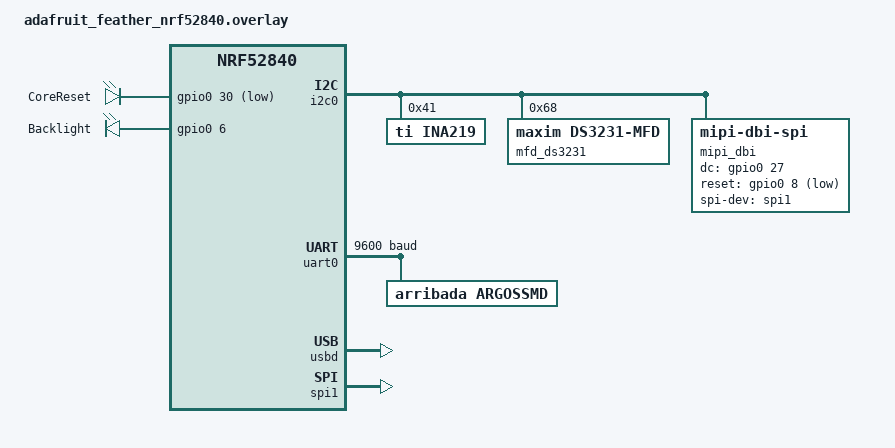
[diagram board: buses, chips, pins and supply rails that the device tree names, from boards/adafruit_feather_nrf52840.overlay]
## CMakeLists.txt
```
cmake_minimum_required(VERSION 3.28)

list(APPEND CMAKE_MODULE_PATH $ENV{APP_ROOT}/cmake)

include(util)

ProjectTestSetup("")

find_package(Zephyr REQUIRED HINTS $ENV{ZEPHYR_BASE})

project(LPM LANGUAGES C CXX ASM)

SetupTarget(app FALSE)
target_sources(app PRIVATE src/main.cpp src/events.cpp)
```

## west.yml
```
manifest:
  group-filter: [+optional]
  remotes:
    - name: zephyrproject-rtos
      url-base: https://github.com/zephyrproject-rtos
    - name: Neargye 
      url-base: https://github.com/Neargye
    - name: embedded-template-library 
      url-base: https://github.com/ETLCPP
    - name: arribada
      url-base: git@github.com:arribada
  projects:
    - name: zephyr
      remote: zephyrproject-rtos
      revision: v4.2.0
      import:
        name-allowlist:
          - cmsis_6    # required by the ARM port
          - hal_nordic # required for Nordic
          - segger
          - lvgl
          - nanopb
    - name: magic_enum
      remote: Neargye
      revision: v0.9.5
    - name: etl
      remote: embedded-template-library 
      revision: 20.38.10
    - name: argos-smd-driver-zephyr
      remote: arribada
      revision: 55e13b3ec129c5427a04aa7b45322adccca33490
      groups:
        - private
  self:
    path: marlin-lpm
```

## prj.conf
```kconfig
CONFIG_CORE_COMMS_MODULE=y
CONFIG_CORE_COMMS_MODULE_LOG_LEVEL_DBG=y
CONFIG_SUPERVISOR_MODULE=y
CONFIG_MONITOR_MODULE=y
CONFIG_SATCOM_MODULE=y
CONFIG_DISPLAY_MODULE=y
CONFIG_RTC_MODULE=y

CONFIG_CPP=y
CONFIG_STD_CPP2B=y
CONFIG_REQUIRES_FULL_LIBCPP=y
CONFIG_NEWLIB_LIBC=y
CONFIG_GLIBCXX_LIBCPP=y
CONFIG_CPP_RTTI=n 
CONFIG_REQUIRES_FLOAT_PRINTF=y

CONFIG_GPIO=y

CONFIG_DEBUG_OPTIMIZATIONS=y
CONFIG_DEBUG_THREAD_INFO=y
CONFIG_DEBUG=y
CONFIG_FRAME_POINTER=y                  
CONFIG_EXTRA_EXCEPTION_INFO=y
CONFIG_DEBUG_COREDUMP_MEMORY_DUMP_THREADS=y
CONFIG_SEGGER_RTT_BUFFER_SIZE_UP=8192   
CONFIG_LOG_BACKEND_RTT_MODE_DROP=y      
CONFIG_EARLY_CONSOLE=y

CONFIG_PRINTK=y
CONFIG_CBPRINTF_COMPLETE=y
CONFIG_CBPRINTF_FP_SUPPORT=y

CONFIG_USE_SEGGER_RTT=y
CONFIG_LOG_BACKEND_RTT=y
CONFIG_RTT_CONSOLE=y

CONFIG_LOG_BACKEND_UART=n
CONFIG_UART_CONSOLE=n

CONFIG_LOG=y
CONFIG_LOG_PRINTK=y
CONFIG_LOG_MODE_IMMEDIATE=y
CONFIG_LOG_FUNC_NAME_PREFIX_DBG=y
CONFIG_BUILD_OUTPUT_STRIP_PATHS=n

CONFIG_LOG_BACKEND_RTT_BUFFER=0
CONFIG_LOG_BACKEND_RTT_MODE_BLOCK=y
CONFIG_LOG_BACKEND_RTT_RETRY_DELAY_MS=1
CONFIG_SEGGER_RTT_BUFFER_SIZE_UP=4096

CONFIG_ASSERT=y
CONFIG_ASSERT_LEVEL=2
CONFIG_ASSERT_VERBOSE=y

CONFIG_THREAD_NAME=y
CONFIG_THREAD_MONITOR=y
CONFIG_THREAD_STACK_INFO=y

CONFIG_FAULT_DUMP=2
CONFIG_STACK_SENTINEL=y
CONFIG_STACK_USAGE=y
CONFIG_INIT_STACKS=y
CONFIG_EXCEPTION_DEBUG=y
CONFIG_DEBUG_COREDUMP=y
CONFIG_DEBUG_COREDUMP_BACKEND_LOGGING=y

CONFIG_ZBUS=y
CONFIG_ZBUS_CHANNEL_NAME=y
CONFIG_ZBUS_OBSERVER_NAME=y

CONFIG_TASK_WDT=y
CONFIG_TASK_WDT_HW_FALLBACK=y
CONFIG_WATCHDOG=y
CONFIG_TASK_WDT_MIN_TIMEOUT=5000
CONFIG_TASK_WDT_HW_FALLBACK_DELAY=30

CONFIG_SERIAL=y
CONFIG_UART_INTERRUPT_DRIVEN=y
CONFIG_USB_DEVICE_STACK_NEXT=y
CONFIG_CDC_ACM_SERIAL_ENABLE_AT_BOOT=y
CONFIG_USBD_CDC_ACM_LOG_LEVEL_WRN=y
CONFIG_CDC_ACM_SERIAL_INITIALIZE_AT_BOOT=y
CONFIG_USBD_LOG_LEVEL_WRN=y
CONFIG_UDC_DRIVER_LOG_LEVEL_WRN=y

CONFIG_MAIN_STACK_SIZE=4096
CONFIG_USBD_THREAD_STACK_SIZE=4096
CONFIG_UDC_NRF_THREAD_STACK_SIZE=4096
CONFIG_USBD_CDC_ACM_WORKQUEUE=y
CONFIG_USBD_CDC_ACM_STACK_SIZE=4096

CONFIG_SENSOR=y
CONFIG_INA219=y

CONFIG_DISPLAY=y
CONFIG_ILI9341=y
CONFIG_MIPI_DBI=y
CONFIG_GPIO=y
CONFIG_SPI=y
CONFIG_DISPLAY_MODULE_STACK_SIZE=4096
CONFIG_DISPLAY_MODULE_PRIORITY=7
# CONFIG_SPI_NRFX=y
# CONFIG_SPI_ASYNC=y

CONFIG_LVGL=y
CONFIG_LV_Z_MEM_POOL_SIZE=32768
CONFIG_LV_FONT_MONTSERRAT_14=y
CONFIG_LV_FONT_MONTSERRAT_16=y
CONFIG_LV_FONT_MONTSERRAT_20=y
CONFIG_LV_FONT_MONTSERRAT_24=y
CONFIG_LV_FONT_MONTSERRAT_28=y
CONFIG_LV_FONT_MONTSERRAT_32=y
CONFIG_LV_FONT_MONTSERRAT_48=y
```

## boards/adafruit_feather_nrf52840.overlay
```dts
#include <zephyr/dt-bindings/display/ili9xxx.h>
#include <zephyr/dt-bindings/mipi_dbi/mipi_dbi.h>

/ {
    chosen {
	   	/delete-property/ zephyr,console;
		/delete-property/ zephyr,shell-uart;
		/delete-property/ zephyr,uart-mcumgr;
		/delete-property/ zephyr,bt-mon-uart;
		/delete-property/ zephyr,bt-c2h-uart;
		zephyr,display = &display;
    };

aliases {
		smd-uart = &uart0;
		core-uart = &cdc_acm_uart;
		battery-sensor = &ina219;
		rtc = &rtc_ds3231;
		bl = &bl;
		core-reset = &core_reset;
	};

	core_reset_drv: core_reset_drv {
		compatible = "gpio-leds";

		core_reset: core_reset {
			gpios = <&gpio0 30 GPIO_ACTIVE_LOW>; // A2
			label = "CoreReset";
		};
	};
};

&i2c0 {
	ina219: ina219@41 {
		compatible = "ti,ina219";
		reg = <0x41>;
		lsb-microamp = <100>;
		shunt-milliohm = <100>;
		brng = <1>;
		pg = <3>;
		badc = <13>;
		sadc = <13>;
	};

	mfd_ds3231: maxim_ds3231_mfd@68 {
		compatible = "maxim,ds3231-mfd";
		reg = <0x68>;

		rtc_ds3231: maxim_ds3231_rtc {
			compatible = "maxim,ds3231-rtc";
			isw-gpios = <&gpio0 11 (GPIO_PULL_UP | GPIO_ACTIVE_LOW)>;
		};
	};


    mipi_dbi {
        compatible = "zephyr,mipi-dbi-spi";
        spi-dev = <&spi1>;
        dc-gpios    = <&gpio0 27  GPIO_ACTIVE_HIGH>;  // DC -> D10
        reset-gpios = <&gpio0 8 GPIO_ACTIVE_LOW>;   // RST -> D12
        write-only;
        #address-cells = <1>;
        #size-cells = <0>;

        display: ili9341@0 {
            compatible = "ilitek,ili9341";
            reg = <0>;
            mipi-max-frequency = <8000000>;
            width = <240>;
            height = <320>;
            pixel-format = <ILI9XXX_PIXEL_FORMAT_RGB888>;
            rotation = <90>;
            
            pwctrlb = [00 c1 30];
            pwseqctrl = [64 03 12 81];
            timctrla = [85 00 79];
            pwctrla = [39 2c 00 34 02];
            pumpratioctrl = [20];
            timctrlb = [00 00];
            pwctrl1 = [1d];
            pwctrl2 = [12];
            vmctrl1 = [33 3f];
            vmctrl2 = [92];
            frmctr1 = [00 12];
            enable3g = [00];
            gamset = [01];
            pgamctrl = [0f 22 1c 1b 08 0f 48 b8 34 05 0c 09 0f 07 00];
            ngamctrl = [00 23 24 07 10 07 38 47 4b 0a 13 06 30 38 0f];
        };
    };
};

&uart0 {
    status = "okay";
    current-speed = <9600>;
	
    argossmd {
        compatible = "arribada,argossmd";
    };
};

zephyr_udc0: &usbd {
	compatible = "nordic,nrf-usbd";
	status = "okay";
	cdc_acm_uart: cdc_acm_uart0 {
		compatible = "zephyr,cdc-acm-uart";
		label = "CDC_ACM";
	};
};

&spi0 {
    status = "disabled";
};

&spi1 {
    status = "okay";
    cs-gpios = <&gpio1 9 GPIO_ACTIVE_LOW>;   /* D13 */
};

&gpio0 {
    status = "okay";
    backlight: backlight {
        compatible = "gpio-leds";
        bl: bl {
            gpios = <&gpio0 6 GPIO_ACTIVE_HIGH>; // BL -> D11
            label = "Backlight";
        };
    };
};
```

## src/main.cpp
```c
#include <zephyr/kernel.h>
#include <zephyr/logging/log.h>
#include <zephyr/logging/log_ctrl.h>
#include <zephyr/task_wdt/task_wdt.h>
#include <zephyr/zbus/zbus.h>

#include <init_event.hpp>
#include <version.hpp>

LOG_MODULE_REGISTER(main);

// CONFIG_NUM_PREEMPT_PRIORITIES - 1 is the lowest priority allowed in the system.
// The Zephyr idle thread is at this priority. Therefore our idle watchdog thread
// is second lowest at CONFIG_NUM_PREEMPT_PRIORITIES - 2.
static constexpr int low_watchdog_priority   = CONFIG_NUM_PREEMPT_PRIORITIES - 2;
static constexpr int low_watchdog_stack_size = 4096;
K_THREAD_STACK_DEFINE(low_watchdog_stack_area, low_watchdog_stack_size);

static void watchdog_entry(void * /*unused*/, void * /*unused*/, void * /*unused*/);

static k_tid_t         watchdog_tid;
static struct k_thread low_watchdog_thread_data;

void enable_task_watchdog();

int main()
{
    printk(R"EOF(
    ▗▖  ▗▖ ▗▄▖ ▗▄▄▖ ▗▖   ▗▄▄▄▖▗▖  ▗▖        ▗▖   ▗▖  ▗▖▗▄▄▖ 
    ▐▛▚▞▜▌▐▌ ▐▌▐▌ ▐▌▐▌     █  ▐▛▚▖▐▌        ▐▌   ▐▛▚▞▜▌▐▌ ▐▌
    ▐▌  ▐▌▐▛▀▜▌▐▛▀▚▖▐▌     █  ▐▌ ▝▜▌        ▐▌   ▐▌  ▐▌▐▛▀▘ 
    ▐▌  ▐▌▐▌ ▐▌▐▌ ▐▌▐▙▄▄▖▗▄█▄▖▐▌  ▐▌        ▐▙▄▄▖▐▌  ▐▌▐▌   
    %.*s-%.*s-%.*s-%.*s
    )EOF",
           static_cast<int>(version::TAG.size()),
           version::TAG.data(),
           static_cast<int>(version::BRANCH.size()),
           version::BRANCH.data(),
           static_cast<int>(version::GIT_HASH.size()),
           version::GIT_HASH.data(),
           static_cast<int>(version::GIT_DIRTY_S.size()),
           version::GIT_DIRTY_S.data());

    enable_task_watchdog();

    LOG_INF("Initialising Modules");

    publish_zbus_event(InitEvent{});

    LOG_INF("Modules Initialised, Main Thread Sleeping...");

    k_sleep(K_FOREVER);

    return 0;
}

void k_sys_fatal_error_handler(unsigned int reason, const arch_esf *esf)
{
    ARG_UNUSED(esf);
    ARG_UNUSED(reason);

    LOG_PANIC();

    k_busy_wait(50000); // NOLINT
}

void enable_task_watchdog()
{
#if DT_NODE_EXISTS(DT_NODELABEL(wdt0))
    const struct device *const wdt = DEVICE_DT_GET(DT_NODELABEL(wdt0));

    if (!device_is_ready(wdt))
    {
        LOG_ERR("%s: device not ready.", wdt->name);
        return;
    }

    int watchdog_ret = task_wdt_init(wdt);
    if (watchdog_ret != 0)
    {
        LOG_ERR("task wdt init failure: %d", watchdog_ret);
    }

    watchdog_tid = k_thread_create(&low_watchdog_thread_data,
                                   low_watchdog_stack_area, // NOLINT
                                   K_THREAD_STACK_SIZEOF(low_watchdog_stack_area),
                                   watchdog_entry,
                                   nullptr,
                                   nullptr,
                                   nullptr,
                                   low_watchdog_priority,
                                   0,
                                   K_NO_WAIT);
#else
    LOG_ERR("wdt0 node not found in devicetree, watchdog disabled");
#endif
}

static void watchdog_call_back(int channel_id, void * /*user_data*/)
{
    ARG_UNUSED(channel_id);

    LOG_ERR("Watchdog Task has been triggered");
    LOG_ERR("Resetting System ...");

    k_oops();
}

static void watchdog_entry(void * /*unused*/, void * /*unused*/, void * /*unused*/)
{
    k_thread_name_set(watchdog_tid, "Watchdog");

    constexpr uint32_t reload_period_ms = CONFIG_TASK_WDT_MIN_TIMEOUT;

    int task_wdt_id = task_wdt_add(reload_period_ms, watchdog_call_back, nullptr);

    if (task_wdt_id < 0)
    {
        LOG_ERR("task wdt watchdog failure: %d", task_wdt_id);
    }

    LOG_INF("Watchdog Task WD Started");

    while (true)
    {
        int ret = task_wdt_feed(task_wdt_id);
        if (ret != 0)
        {
            LOG_ERR("Watchdog Feed Failed");
        }
        const int32_t wtd_watchdog_sleep_ms = CONFIG_TASK_WDT_MIN_TIMEOUT / 10;
        k_msleep(wtd_watchdog_sleep_ms);
    }
}
```

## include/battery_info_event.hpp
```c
#pragma once

#include <zephyr/zbus/zbus.h>

struct BatteryInfoEvent
{
    float   voltage;
    float   current;
    float   power;
    bool    valid;
    bool    operator==(const BatteryInfoEvent &) const = default;
};

ZBUS_CHAN_DECLARE(BatteryInfoEventChan);

inline void publish_zbus_event(const BatteryInfoEvent &event)
{
    int ret = zbus_chan_pub(&BatteryInfoEventChan, static_cast<const void *>(&event), K_NO_WAIT);
    __ASSERT(ret == 0, "zbus_chan_pub should not fail, check usage");
}
```

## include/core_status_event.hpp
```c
#pragma once

#include <array>

#include <zephyr/zbus/zbus.h>

#include "util.hpp"

constexpr uint32_t satcom_status_string_size = 64;

struct CoreStatusEvent
{
    uint32_t                                    msg_id;
    Status                                      camera;
    Status                                      controller;
    Status                                      cloud_connection;
    Status                                      cellular;
    Status                                      wifi;
    Status                                      gps;
    Status                                      tailscale;
    Status                                      local_dash;
    float                                       storage_usage;
    std::array<char, satcom_status_string_size> tailscale_ip;
    bool                                        operator==(const CoreStatusEvent &) const = default;
};

ZBUS_CHAN_DECLARE(CoreStatusEventChan);

inline void publish_zbus_event(const CoreStatusEvent &event)
{
    int ret = zbus_chan_pub(&CoreStatusEventChan, static_cast<const void *>(&event), K_NO_WAIT);
    __ASSERT(ret == 0, "zbus_chan_pub should not fail, check usage");
}
```

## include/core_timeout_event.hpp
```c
#pragma once

#include <zephyr/zbus/zbus.h>

struct CoreTimeoutEvent
{
};

ZBUS_CHAN_DECLARE(CoreTimeoutEventChan);

inline void publish_zbus_event(const CoreTimeoutEvent &event)
{
    int ret = zbus_chan_pub(&CoreTimeoutEventChan, static_cast<const void *>(&event), K_NO_WAIT);
    __ASSERT(ret == 0, "zbus_chan_pub should not fail, check usage");
}
```

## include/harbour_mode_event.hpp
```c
#pragma once

#include <zephyr/zbus/zbus.h>

#include <core.pb.h>

struct HarbourModeEvent
{
    uint32_t                msg_id;
    sat_HarbourMode_Command cmd;
};

ZBUS_CHAN_DECLARE(HarbourModeEventChan);

inline void publish_zbus_event(const HarbourModeEvent &event)
{
    int ret = zbus_chan_pub(&HarbourModeEventChan, static_cast<const void *>(&event), K_NO_WAIT);
    __ASSERT(ret == 0, "zbus_chan_pub should not fail, check usage");
}
```

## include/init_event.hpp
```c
#pragma once

#include <zephyr/zbus/zbus.h>

struct InitEvent
{
};

ZBUS_CHAN_DECLARE(init_event_chan);

inline void publish_zbus_event(const InitEvent &event)
{
    int ret = zbus_chan_pub(&init_event_chan, static_cast<const void *>(&event), K_NO_WAIT);
    __ASSERT(ret == 0, "zbus_chan_pub should not fail, check usage");
}
```

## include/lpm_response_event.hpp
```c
#pragma once

#include <optional>

#include <zephyr/zbus/zbus.h>

#include <core.pb.h>

struct LpmResponseEvent
{
    uint32_t                        msg_id;
    sat_LpmReply_Response           response;
    std::optional<sat_BatteryStatus> battery;
    bool                            operator==(const LpmResponseEvent &) const = default;
};

ZBUS_CHAN_DECLARE(LpmResponseEventChan);

inline void publish_zbus_event(const LpmResponseEvent &event)
{
    int ret = zbus_chan_pub(&LpmResponseEventChan, static_cast<const void *>(&event), K_NO_WAIT);
    __ASSERT(ret == 0, "zbus_chan_pub should not fail, check usage");
}
```

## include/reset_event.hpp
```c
#pragma once

#include <array>
#include <cstdint>

#include <zephyr/zbus/zbus.h>

#include <core.pb.h>

struct ResetEvent
{
    uint32_t msg_id = 0;
};

ZBUS_CHAN_DECLARE(ResetEventChan);

inline void publish_zbus_event(const ResetEvent &event)
{
    int ret =
        zbus_chan_pub(&ResetEventChan, static_cast<const void *>(&event), K_NO_WAIT);
    __ASSERT(ret == 0, "zbus_chan_pub should not fail, check usage");
}
```

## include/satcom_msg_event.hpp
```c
#pragma once

#include <array>
#include <cstdint>

#include <zephyr/zbus/zbus.h>

constexpr uint32_t sat_comm_msg_max_size = 256;

using SatComMsgData = std::array<char, sat_comm_msg_max_size>;

struct SatComMsgEvent
{
    uint32_t      msg_id;
    SatComMsgData data;
};

ZBUS_CHAN_DECLARE(SatComMsgEventChan);

inline void publish_zbus_event(const SatComMsgEvent &event)
{
    int ret = zbus_chan_pub(&SatComMsgEventChan, static_cast<const void *>(&event), K_NO_WAIT);
    __ASSERT(ret == 0, "zbus_chan_pub should not fail, check usage");
}
```

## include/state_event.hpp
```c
#pragma once

#include <zephyr/zbus/zbus.h>

enum class State : uint8_t
{
    monitoring,
    system_error,
    harbour,
    offline
};

struct StateEvent
{
    State state;
    bool  operator==(const StateEvent &) const = default;
};

ZBUS_CHAN_DECLARE(StateEventChan);

inline void publish_zbus_event(const StateEvent &event)
{
    int ret =
        zbus_chan_pub(&StateEventChan, static_cast<const void *>(&event), K_NO_WAIT);
    __ASSERT(ret == 0, "zbus_chan_pub should not fail, check usage");
}
```

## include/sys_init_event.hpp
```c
#pragma once

#include <array>
#include <cstdint>

#include <zephyr/zbus/zbus.h>

#include <core.pb.h>

constexpr uint32_t sys_init_string_size = 64;

struct SysInitEvent
{
    uint32_t                               msg_id;
    std::array<char, sys_init_string_size> id;
    std::array<char, sys_init_string_size> addr;
    std::array<char, sys_init_string_size> sec_key;
    std::array<char, sys_init_string_size> rconf;
    std::array<char, sys_init_string_size> hostname;
    std::array<char, sys_init_string_size> wifi_network;
    int64_t                                time = 0;
};

ZBUS_CHAN_DECLARE(SysInitEventChan);

inline void publish_zbus_event(const SysInitEvent &event)
{
    int ret =
        zbus_chan_pub(&SysInitEventChan, static_cast<const void *>(&event), K_NO_WAIT);
    __ASSERT(ret == 0, "zbus_chan_pub should not fail, check usage");
}
```

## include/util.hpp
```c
#pragma once

#include <type_traits>
#include <zephyr/zbus/zbus.h>

#include <core.pb.h>

// Must follow Status enum in core.proto
enum class Status : uint8_t
{
    online  = 0,
    offline = 1,
    error   = 2,
    unknown = 3,
};

static_assert(static_cast<int>(Status::online) ==
              _sat_CoreStatus_Status::sat_CoreStatus_Status_ONLINE);
static_assert(static_cast<int>(Status::offline) ==
              _sat_CoreStatus_Status::sat_CoreStatus_Status_OFFLINE);
static_assert(static_cast<int>(Status::error) ==
              _sat_CoreStatus_Status::sat_CoreStatus_Status_ERROR);
static_assert(static_cast<int>(Status::unknown) ==
              _sat_CoreStatus_Status::sat_CoreStatus_Status_UNKNOWN);

template <typename TEvent> inline const TEvent *get_zbus_event(const zbus_channel *channel)
{
    return static_cast<const TEvent *>(zbus_chan_const_msg(channel));
}

template <typename E> constexpr std::underlying_type_t<E> to_underlying(E value)
{
    return static_cast<std::underlying_type_t<E>>(value);
}

template <typename E, typename T> constexpr E to_enum(T value)
{
    return static_cast<E>(value);
}

template <class... Ts> struct overload : Ts...
{
    using Ts::operator()...;
};

static constexpr int zbus_high_priority    = 1;
static constexpr int zbus_default_priority = 2;
```

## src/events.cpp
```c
#include <zephyr/zbus/zbus.h>

#include "battery_info_event.hpp"
#include "core_status_event.hpp"
#include "core_timeout_event.hpp"
#include "harbour_mode_event.hpp"
#include "init_event.hpp"
#include "lpm_response_event.hpp"
#include "reset_event.hpp"
#include "satcom_msg_event.hpp"
#include "state_event.hpp"
#include "sys_init_event.hpp"

// NOLINTNEXTLINE
ZBUS_CHAN_DEFINE(init_event_chan,      /* Name */
                 InitEvent,            /* Message type */
                 nullptr,              /* Validator */
                 nullptr,              /* User data */
                 ZBUS_OBSERVERS_EMPTY, /* observers */
                 ZBUS_MSG_INIT()       /* Initial value */
);

// NOLINTNEXTLINE
ZBUS_CHAN_DEFINE(CoreStatusEventChan,  /* Name */
                 CoreStatusEvent,      /* Message type */
                 nullptr,              /* Validator */
                 nullptr,              /* User data */
                 ZBUS_OBSERVERS_EMPTY, /* observers */
                 ZBUS_MSG_INIT()       /* Initial value */
);

// NOLINTNEXTLINE
ZBUS_CHAN_DEFINE(CoreTimeoutEventChan, /* Name */
                 CoreTimeoutEvent,     /* Message type */
                 nullptr,              /* Validator */
                 nullptr,              /* User data */
                 ZBUS_OBSERVERS_EMPTY, /* observers */
                 ZBUS_MSG_INIT()       /* Initial value */
);

// NOLINTNEXTLINE
ZBUS_CHAN_DEFINE(StateEventChan,       /* Name */
                 StateEvent,           /* Message type */
                 nullptr,              /* Validator */
                 nullptr,              /* User data */
                 ZBUS_OBSERVERS_EMPTY, /* observers */
                 ZBUS_MSG_INIT()       /* Initial value */
);

// NOLINTNEXTLINE
ZBUS_CHAN_DEFINE(SatComMsgEventChan,   /* Name */
                 SatComMsgEvent,       /* Message type */
                 nullptr,              /* Validator */
                 nullptr,              /* User data */
                 ZBUS_OBSERVERS_EMPTY, /* observers */
                 ZBUS_MSG_INIT()       /* Initial value */
);

ZBUS_CHAN_DEFINE(BatteryInfoEventChan, /* Name */
                 BatteryInfoEvent,     /* Message type */
                 nullptr,              /* Validator */
                 nullptr,              /* User data */
                 ZBUS_OBSERVERS_EMPTY, /* observers */
                 ZBUS_MSG_INIT()       /* Initial value */
);

// NOLINTNEXTLINE
ZBUS_CHAN_DEFINE(LpmResponseEventChan, /* Name */
                 LpmResponseEvent,     /* Message type */
                 nullptr,              /* Validator */
                 nullptr,              /* User data */
                 ZBUS_OBSERVERS_EMPTY, /* observers */
                 ZBUS_MSG_INIT()       /* Initial value */
);

// NOLINTNEXTLINE
ZBUS_CHAN_DEFINE(HarbourModeEventChan, /* Name */
                 HarbourModeEvent,     /* Message type */
                 nullptr,              /* Validator */
                 nullptr,              /* User data */
                 ZBUS_OBSERVERS_EMPTY, /* observers */
                 ZBUS_MSG_INIT()       /* Initial value */
);

// NOLINTNEXTLINE
ZBUS_CHAN_DEFINE(SysInitEventChan,     /* Name */
                 SysInitEvent,         /* Message type */
                 nullptr,              /* Validator */
                 nullptr,              /* User data */
                 ZBUS_OBSERVERS_EMPTY, /* observers */
                 ZBUS_MSG_INIT()       /* Initial value */
);

// NOLINTNEXTLINE
ZBUS_CHAN_DEFINE(ResetEventChan, /* Name */
                 ResetEvent,     /* Message type */
                 nullptr,        /* Validator */
                 nullptr,        /* User data */
                 ZBUS_OBSERVERS_EMPTY, /* observers */
                 ZBUS_MSG_INIT()       /* Initial value */
);
```
